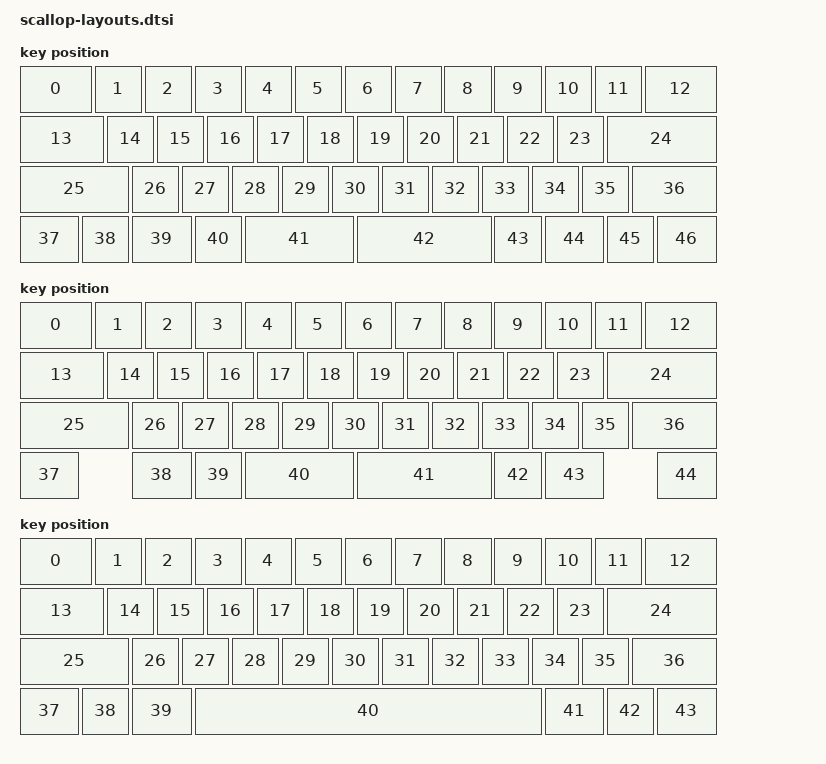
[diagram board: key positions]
/*
 * Copyright (c) 2024 The ZMK Contributors
 *
 * SPDX-License-Identifier: MIT
 */

#include <physical_layouts.dtsi>

/ {

    chosen {
        zmk,physical-layout = &default_layout;
    };

    default_layout: default_layout {
        compatible = "zmk,physical-layout";
        display-name = "WK / Split Space";

        transform = <&default_transform>;

        keys  //                     w   h    x    y     rot   rx   ry
            = <&key_physical_attrs 150 100    0    0       0    0    0>
            , <&key_physical_attrs 100 100  150    0       0    0    0>
            , <&key_physical_attrs 100 100  250    0       0    0    0>
            , <&key_physical_attrs 100 100  350    0       0    0    0>
            , <&key_physical_attrs 100 100  450    0       0    0    0>
            , <&key_physical_attrs 100 100  550    0       0    0    0>
            , <&key_physical_attrs 100 100  650    0       0    0    0>
            , <&key_physical_attrs 100 100  750    0       0    0    0>
            , <&key_physical_attrs 100 100  850    0       0    0    0>
            , <&key_physical_attrs 100 100  950    0       0    0    0>
            , <&key_physical_attrs 100 100 1050    0       0    0    0>
            , <&key_physical_attrs 100 100 1150    0       0    0    0>
            , <&key_physical_attrs 150 100 1250    0       0    0    0>
            , <&key_physical_attrs 175 100    0  100       0    0    0>
            , <&key_physical_attrs 100 100  175  100       0    0    0>
            , <&key_physical_attrs 100 100  275  100       0    0    0>
            , <&key_physical_attrs 100 100  375  100       0    0    0>
            , <&key_physical_attrs 100 100  475  100       0    0    0>
            , <&key_physical_attrs 100 100  575  100       0    0    0>
            , <&key_physical_attrs 100 100  675  100       0    0    0>
            , <&key_physical_attrs 100 100  775  100       0    0    0>
            , <&key_physical_attrs 100 100  875  100       0    0    0>
            , <&key_physical_attrs 100 100  975  100       0    0    0>
            , <&key_physical_attrs 100 100 1075  100       0    0    0>
            , <&key_physical_attrs 225 100 1175  100       0    0    0>
            , <&key_physical_attrs 225 100    0  200       0    0    0>
            , <&key_physical_attrs 100 100  225  200       0    0    0>
            , <&key_physical_attrs 100 100  325  200       0    0    0>
            , <&key_physical_attrs 100 100  425  200       0    0    0>
            , <&key_physical_attrs 100 100  525  200       0    0    0>
            , <&key_physical_attrs 100 100  625  200       0    0    0>
            , <&key_physical_attrs 100 100  725  200       0    0    0>
            , <&key_physical_attrs 100 100  825  200       0    0    0>
            , <&key_physical_attrs 100 100  925  200       0    0    0>
            , <&key_physical_attrs 100 100 1025  200       0    0    0>
            , <&key_physical_attrs 100 100 1125  200       0    0    0>
            , <&key_physical_attrs 175 100 1225  200       0    0    0>
            , <&key_physical_attrs 125 100    0  300       0    0    0>
            , <&key_physical_attrs 100 100  125  300       0    0    0>
            , <&key_physical_attrs 125 100  225  300       0    0    0>
            , <&key_physical_attrs 100 100  350  300       0    0    0>
            , <&key_physical_attrs 225 100  450  300       0    0    0>
            , <&key_physical_attrs 275 100  675  300       0    0    0>
            , <&key_physical_attrs 100 100  950  300       0    0    0>
            , <&key_physical_attrs 125 100 1050  300       0    0    0>
            , <&key_physical_attrs 100 100 1175  300       0    0    0>
            , <&key_physical_attrs 125 100 1275  300       0    0    0>
            ;
    };

    default_wkl_layout: default_wkl_layout {
        compatible = "zmk,physical-layout";
        display-name = "WKL / Split Space";

        transform = <&default_wkl_transform>;

        keys  //                     w   h    x    y     rot   rx   ry
            = <&key_physical_attrs 150 100    0    0       0    0    0>
            , <&key_physical_attrs 100 100  150    0       0    0    0>
            , <&key_physical_attrs 100 100  250    0       0    0    0>
            , <&key_physical_attrs 100 100  350    0       0    0    0>
            , <&key_physical_attrs 100 100  450    0       0    0    0>
            , <&key_physical_attrs 100 100  550    0       0    0    0>
            , <&key_physical_attrs 100 100  650    0       0    0    0>
            , <&key_physical_attrs 100 100  750    0       0    0    0>
            , <&key_physical_attrs 100 100  850    0       0    0    0>
            , <&key_physical_attrs 100 100  950    0       0    0    0>
            , <&key_physical_attrs 100 100 1050    0       0    0    0>
            , <&key_physical_attrs 100 100 1150    0       0    0    0>
            , <&key_physical_attrs 150 100 1250    0       0    0    0>
            , <&key_physical_attrs 175 100    0  100       0    0    0>
            , <&key_physical_attrs 100 100  175  100       0    0    0>
            , <&key_physical_attrs 100 100  275  100       0    0    0>
            , <&key_physical_attrs 100 100  375  100       0    0    0>
            , <&key_physical_attrs 100 100  475  100       0    0    0>
            , <&key_physical_attrs 100 100  575  100       0    0    0>
            , <&key_physical_attrs 100 100  675  100       0    0    0>
            , <&key_physical_attrs 100 100  775  100       0    0    0>
            , <&key_physical_attrs 100 100  875  100       0    0    0>
            , <&key_physical_attrs 100 100  975  100       0    0    0>
            , <&key_physical_attrs 100 100 1075  100       0    0    0>
            , <&key_physical_attrs 225 100 1175  100       0    0    0>
            , <&key_physical_attrs 225 100    0  200       0    0    0>
            , <&key_physical_attrs 100 100  225  200       0    0    0>
            , <&key_physical_attrs 100 100  325  200       0    0    0>
            , <&key_physical_attrs 100 100  425  200       0    0    0>
            , <&key_physical_attrs 100 100  525  200       0    0    0>
            , <&key_physical_attrs 100 100  625  200       0    0    0>
            , <&key_physical_attrs 100 100  725  200       0    0    0>
            , <&key_physical_attrs 100 100  825  200       0    0    0>
            , <&key_physical_attrs 100 100  925  200       0    0    0>
            , <&key_physical_attrs 100 100 1025  200       0    0    0>
            , <&key_physical_attrs 100 100 1125  200       0    0    0>
            , <&key_physical_attrs 175 100 1225  200       0    0    0>
            , <&key_physical_attrs 125 100    0  300       0    0    0>
            , <&key_physical_attrs 125 100  225  300       0    0    0>
            , <&key_physical_attrs 100 100  350  300       0    0    0>
            , <&key_physical_attrs 225 100  450  300       0    0    0>
            , <&key_physical_attrs 275 100  675  300       0    0    0>
            , <&key_physical_attrs 100 100  950  300       0    0    0>
            , <&key_physical_attrs 125 100 1050  300       0    0    0>
            , <&key_physical_attrs 125 100 1275  300       0    0    0>
            ;
    };

    full_space_layout: full_space_layout {
        compatible = "zmk,physical-layout";
        display-name = "WK / Full Space";

        transform = <&full_space_transform>;

        keys  //                     w   h    x    y     rot   rx   ry
            = <&key_physical_attrs 150 100    0    0       0    0    0>
            , <&key_physical_attrs 100 100  150    0       0    0    0>
            , <&key_physical_attrs 100 100  250    0       0    0    0>
            , <&key_physical_attrs 100 100  350    0       0    0    0>
            , <&key_physical_attrs 100 100  450    0       0    0    0>
            , <&key_physical_attrs 100 100  550    0       0    0    0>
            , <&key_physical_attrs 100 100  650    0       0    0    0>
            , <&key_physical_attrs 100 100  750    0       0    0    0>
            , <&key_physical_attrs 100 100  850    0       0    0    0>
            , <&key_physical_attrs 100 100  950    0       0    0    0>
            , <&key_physical_attrs 100 100 1050    0       0    0    0>
            , <&key_physical_attrs 100 100 1150    0       0    0    0>
            , <&key_physical_attrs 150 100 1250    0       0    0    0>
            , <&key_physical_attrs 175 100    0  100       0    0    0>
            , <&key_physical_attrs 100 100  175  100       0    0    0>
            , <&key_physical_attrs 100 100  275  100       0    0    0>
            , <&key_physical_attrs 100 100  375  100       0    0    0>
            , <&key_physical_attrs 100 100  475  100       0    0    0>
            , <&key_physical_attrs 100 100  575  100       0    0    0>
            , <&key_physical_attrs 100 100  675  100       0    0    0>
            , <&key_physical_attrs 100 100  775  100       0    0    0>
            , <&key_physical_attrs 100 100  875  100       0    0    0>
            , <&key_physical_attrs 100 100  975  100       0    0    0>
            , <&key_physical_attrs 100 100 1075  100       0    0    0>
            , <&key_physical_attrs 225 100 1175  100       0    0    0>
            , <&key_physical_attrs 225 100    0  200       0    0    0>
            , <&key_physical_attrs 100 100  225  200       0    0    0>
            , <&key_physical_attrs 100 100  325  200       0    0    0>
            , <&key_physical_attrs 100 100  425  200       0    0    0>
            , <&key_physical_attrs 100 100  525  200       0    0    0>
            , <&key_physical_attrs 100 100  625  200       0    0    0>
            , <&key_physical_attrs 100 100  725  200       0    0    0>
            , <&key_physical_attrs 100 100  825  200       0    0    0>
            , <&key_physical_attrs 100 100  925  200       0    0    0>
            , <&key_physical_attrs 100 100 1025  200       0    0    0>
            , <&key_physical_attrs 100 100 1125  200       0    0    0>
            , <&key_physical_attrs 175 100 1225  200       0    0    0>
            , <&key_physical_attrs 125 100    0  300       0    0    0>
            , <&key_physical_attrs 100 100  125  300       0    0    0>
            , <&key_physical_attrs 125 100  225  300       0    0    0>
            , <&key_physical_attrs 700 100  350  300       0    0    0>
            , <&key_physical_attrs 125 100 1050  300       0    0    0>
            , <&key_physical_attrs 100 100 1175  300       0    0    0>
            , <&key_physical_attrs 125 100 1275  300       0    0    0>
            ;
    };

    full_space_wkl_layout: full_space_wkl_layout {
        compatible = "zmk,physical-layout";
        display-name = "WKL / Full Space";

        transform = <&full_space_wkl_transform>;

        keys  //                     w   h    x    y     rot   rx   ry
            = <&key_physical_attrs 150 100    0    0       0    0    0>
            , <&key_physical_attrs 100 100  150    0       0    0    0>
            , <&key_physical_attrs 100 100  250    0       0    0    0>
            , <&key_physical_attrs 100 100  350    0       0    0    0>
            , <&key_physical_attrs 100 100  450    0       0    0    0>
            , <&key_physical_attrs 100 100  550    0       0    0    0>
            , <&key_physical_attrs 100 100  650    0       0    0    0>
            , <&key_physical_attrs 100 100  750    0       0    0    0>
            , <&key_physical_attrs 100 100  850    0       0    0    0>
            , <&key_physical_attrs 100 100  950    0       0    0    0>
            , <&key_physical_attrs 100 100 1050    0       0    0    0>
            , <&key_physical_attrs 100 100 1150    0       0    0    0>
            , <&key_physical_attrs 150 100 1250    0       0    0    0>
            , <&key_physical_attrs 175 100    0  100       0    0    0>
            , <&key_physical_attrs 100 100  175  100       0    0    0>
            , <&key_physical_attrs 100 100  275  100       0    0    0>
            , <&key_physical_attrs 100 100  375  100       0    0    0>
            , <&key_physical_attrs 100 100  475  100       0    0    0>
            , <&key_physical_attrs 100 100  575  100       0    0    0>
            , <&key_physical_attrs 100 100  675  100       0    0    0>
            , <&key_physical_attrs 100 100  775  100       0    0    0>
            , <&key_physical_attrs 100 100  875  100       0    0    0>
            , <&key_physical_attrs 100 100  975  100       0    0    0>
            , <&key_physical_attrs 100 100 1075  100       0    0    0>
            , <&key_physical_attrs 225 100 1175  100       0    0    0>
            , <&key_physical_attrs 225 100    0  200       0    0    0>
            , <&key_physical_attrs 100 100  225  200       0    0    0>
            , <&key_physical_attrs 100 100  325  200       0    0    0>
            , <&key_physical_attrs 100 100  425  200       0    0    0>
            , <&key_physical_attrs 100 100  525  200       0    0    0>
            , <&key_physical_attrs 100 100  625  200       0    0    0>
            , <&key_physical_attrs 100 100  725  200       0    0    0>
            , <&key_physical_attrs 100 100  825  200       0    0    0>
            , <&key_physical_attrs 100 100  925  200       0    0    0>
            , <&key_physical_attrs 100 100 1025  200       0    0    0>
            , <&key_physical_attrs 100 100 1125  200       0    0    0>
            , <&key_physical_attrs 175 100 1225  200       0    0    0>
            , <&key_physical_attrs 125 100    0  300       0    0    0>
            , <&key_physical_attrs 125 100  225  300       0    0    0>
            , <&key_physical_attrs 700 100  350  300       0    0    0>
            , <&key_physical_attrs 125 100 1050  300       0    0    0>
            , <&key_physical_attrs 125 100 1275  300       0    0    0>
            ;
    };

    position_map {
        compatible = "zmk,physical-layout-position-map";

        default_layout {
            physical-layout = <&default_layout>;
            positions = <38 40 42 43 45>;
        };

        default_wkl_layout {
            physical-layout = <&default_wkl_layout>;
            positions = <45 39 41 42 46>;
        };

        full_space_layout {
            physical-layout = <&full_space_layout>;
            positions = <38 44 45 46 42>;
        };

        full_space_wkl_layout {
            physical-layout = <&full_space_wkl_layout>;
            positions = <42 43 44 45 46>;
        };
    };
};
